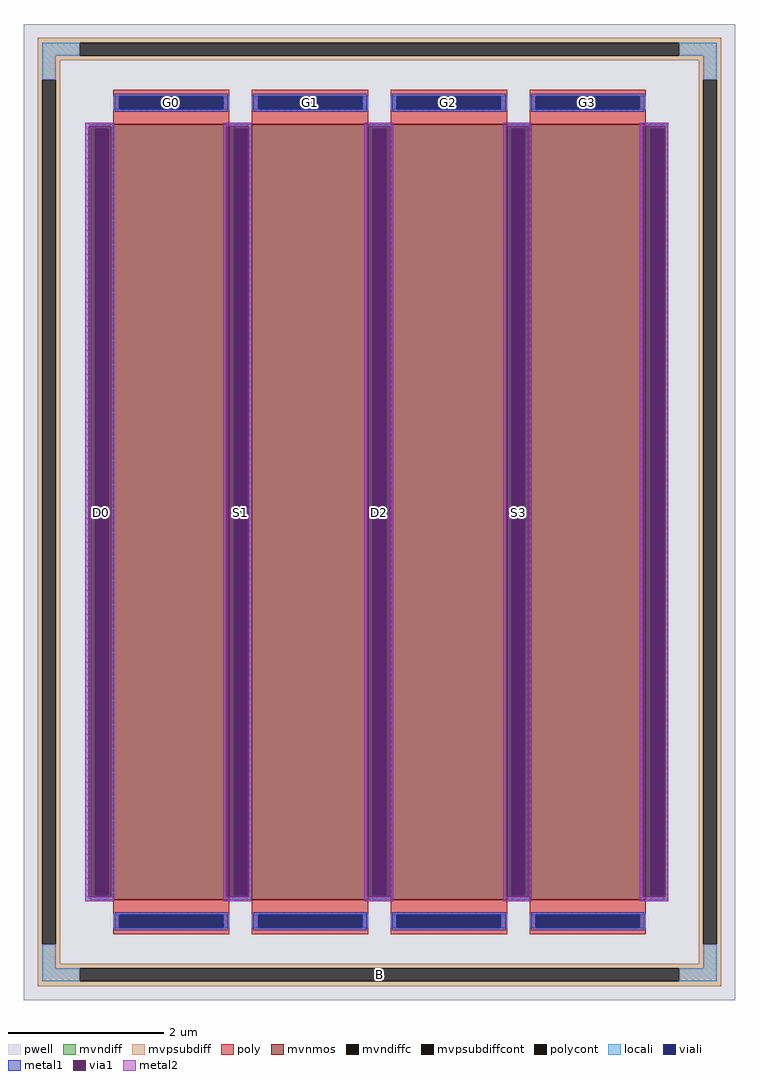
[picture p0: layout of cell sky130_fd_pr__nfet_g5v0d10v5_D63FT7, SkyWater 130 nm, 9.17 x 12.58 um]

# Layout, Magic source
magic
tech sky130A
magscale 1 2
<< pwell >>
rect -917 -1258 917 1258
<< mvnmos >>
rect -687 -1000 -387 1000
rect -329 -1000 -29 1000
rect 29 -1000 329 1000
rect 387 -1000 687 1000
<< mvndiff >>
rect -745 988 -687 1000
rect -745 -988 -733 988
rect -699 -988 -687 988
rect -745 -1000 -687 -988
rect -387 988 -329 1000
rect -387 -988 -375 988
rect -341 -988 -329 988
rect -387 -1000 -329 -988
rect -29 988 29 1000
rect -29 -988 -17 988
rect 17 -988 29 988
rect -29 -1000 29 -988
rect 329 988 387 1000
rect 329 -988 341 988
rect 375 -988 387 988
rect 329 -1000 387 -988
rect 687 988 745 1000
rect 687 -988 699 988
rect 733 -988 745 988
rect 687 -1000 745 -988
<< mvndiffc >>
rect -733 -988 -699 988
rect -375 -988 -341 988
rect -17 -988 17 988
rect 341 -988 375 988
rect 699 -988 733 988
<< mvpsubdiff >>
rect -881 1210 881 1222
rect -881 1176 -773 1210
rect 773 1176 881 1210
rect -881 1164 881 1176
rect -881 1114 -823 1164
rect -881 -1114 -869 1114
rect -835 -1114 -823 1114
rect 823 1114 881 1164
rect -881 -1164 -823 -1114
rect 823 -1114 835 1114
rect 869 -1114 881 1114
rect 823 -1164 881 -1114
rect -881 -1176 881 -1164
rect -881 -1210 -773 -1176
rect 773 -1210 881 -1176
rect -881 -1222 881 -1210
<< mvpsubdiffcont >>
rect -773 1176 773 1210
rect -869 -1114 -835 1114
rect 835 -1114 869 1114
rect -773 -1210 773 -1176
<< poly >>
rect -687 1072 -387 1088
rect -687 1038 -671 1072
rect -403 1038 -387 1072
rect -687 1000 -387 1038
rect -329 1072 -29 1088
rect -329 1038 -313 1072
rect -45 1038 -29 1072
rect -329 1000 -29 1038
rect 29 1072 329 1088
rect 29 1038 45 1072
rect 313 1038 329 1072
rect 29 1000 329 1038
rect 387 1072 687 1088
rect 387 1038 403 1072
rect 671 1038 687 1072
rect 387 1000 687 1038
rect -687 -1038 -387 -1000
rect -687 -1072 -671 -1038
rect -403 -1072 -387 -1038
rect -687 -1088 -387 -1072
rect -329 -1038 -29 -1000
rect -329 -1072 -313 -1038
rect -45 -1072 -29 -1038
rect -329 -1088 -29 -1072
rect 29 -1038 329 -1000
rect 29 -1072 45 -1038
rect 313 -1072 329 -1038
rect 29 -1088 329 -1072
rect 387 -1038 687 -1000
rect 387 -1072 403 -1038
rect 671 -1072 687 -1038
rect 387 -1088 687 -1072
<< polycont >>
rect -671 1038 -403 1072
rect -313 1038 -45 1072
rect 45 1038 313 1072
rect 403 1038 671 1072
rect -671 -1072 -403 -1038
rect -313 -1072 -45 -1038
rect 45 -1072 313 -1038
rect 403 -1072 671 -1038
<< locali >>
rect -869 1176 -773 1210
rect 773 1176 869 1210
rect -869 1114 -835 1176
rect 835 1114 869 1176
rect -687 1038 -671 1072
rect -403 1038 -387 1072
rect -329 1038 -313 1072
rect -45 1038 -29 1072
rect 29 1038 45 1072
rect 313 1038 329 1072
rect 387 1038 403 1072
rect 671 1038 687 1072
rect -733 988 -699 1004
rect -733 -1004 -699 -988
rect -375 988 -341 1004
rect -375 -1004 -341 -988
rect -17 988 17 1004
rect -17 -1004 17 -988
rect 341 988 375 1004
rect 341 -1004 375 -988
rect 699 988 733 1004
rect 699 -1004 733 -988
rect -687 -1072 -671 -1038
rect -403 -1072 -387 -1038
rect -329 -1072 -313 -1038
rect -45 -1072 -29 -1038
rect 29 -1072 45 -1038
rect 313 -1072 329 -1038
rect 387 -1072 403 -1038
rect 671 -1072 687 -1038
rect -869 -1176 -835 -1114
rect 835 -1176 869 -1114
rect -869 -1210 -773 -1176
rect 773 -1210 869 -1176
<< viali >>
rect -671 1038 -403 1072
rect -313 1038 -45 1072
rect 45 1038 313 1072
rect 403 1038 671 1072
rect -375 -988 -341 988
rect -17 -988 17 988
rect 341 -988 375 988
rect 699 -988 733 988
rect -671 -1072 -403 -1038
rect -313 -1072 -45 -1038
rect 45 -1072 313 -1038
rect 403 -1072 671 -1038
<< metal1 >>
rect -683 1072 -391 1078
rect -683 1038 -671 1072
rect -403 1038 -391 1072
rect -683 1032 -391 1038
rect -325 1072 -33 1078
rect -325 1038 -313 1072
rect -45 1038 -33 1072
rect -325 1032 -33 1038
rect 33 1072 325 1078
rect 33 1038 45 1072
rect 313 1038 325 1072
rect 33 1032 325 1038
rect 391 1072 683 1078
rect 391 1038 403 1072
rect 671 1038 683 1072
rect 391 1032 683 1038
rect -758 994 -684 1004
rect -758 -992 -750 994
rect -692 -992 -684 994
rect -758 -1004 -684 -992
rect -403 994 -329 1004
rect -403 -992 -395 994
rect -337 -992 -329 994
rect -403 -1004 -329 -992
rect -39 994 35 1004
rect -39 -992 -31 994
rect 27 -992 35 994
rect -39 -1004 35 -992
rect 319 994 393 1004
rect 319 -992 327 994
rect 385 -992 393 994
rect 319 -1004 393 -992
rect 671 994 745 1004
rect 671 -992 679 994
rect 737 -992 745 994
rect 671 -1004 745 -992
rect -683 -1038 -391 -1032
rect -683 -1072 -671 -1038
rect -403 -1072 -391 -1038
rect -683 -1078 -391 -1072
rect -325 -1038 -33 -1032
rect -325 -1072 -313 -1038
rect -45 -1072 -33 -1038
rect -325 -1078 -33 -1072
rect 33 -1038 325 -1032
rect 33 -1072 45 -1038
rect 313 -1072 325 -1038
rect 33 -1078 325 -1072
rect 391 -1038 683 -1032
rect 391 -1072 403 -1038
rect 671 -1072 683 -1038
rect 391 -1078 683 -1072
<< via1 >>
rect -750 -992 -692 994
rect -395 988 -337 994
rect -395 -988 -375 988
rect -375 -988 -341 988
rect -341 -988 -337 988
rect -395 -992 -337 -988
rect -31 988 27 994
rect -31 -988 -17 988
rect -17 -988 17 988
rect 17 -988 27 988
rect -31 -992 27 -988
rect 327 988 385 994
rect 327 -988 341 988
rect 341 -988 375 988
rect 375 -988 385 988
rect 327 -992 385 -988
rect 679 988 737 994
rect 679 -988 699 988
rect 699 -988 733 988
rect 733 -988 737 988
rect 679 -992 737 -988
<< metal2 >>
rect -758 994 -684 1004
rect -758 -992 -750 994
rect -692 -992 -684 994
rect -758 -1004 -684 -992
rect -403 994 -329 1004
rect -403 -992 -395 994
rect -337 -992 -329 994
rect -403 -1004 -329 -992
rect -39 994 35 1004
rect -39 -992 -31 994
rect 27 -992 35 994
rect -39 -1004 35 -992
rect 319 994 393 1004
rect 319 -992 327 994
rect 385 -992 393 994
rect 319 -1004 393 -992
rect 671 994 745 1004
rect 671 -992 679 994
rect 737 -992 745 994
rect 671 -1004 745 -992
<< labels >>
rlabel mvpsubdiffcont 0 -1193 0 -1193 0 B
port 1 nsew
rlabel mvndiffc -716 0 -716 0 0 D0
port 2 nsew
rlabel polycont -537 1055 -537 1055 0 G0
port 3 nsew
rlabel mvndiffc -358 0 -358 0 0 S1
port 4 nsew
rlabel polycont -179 1055 -179 1055 0 G1
port 5 nsew
rlabel mvndiffc 0 0 0 0 0 D2
port 6 nsew
rlabel polycont 179 1055 179 1055 0 G2
port 7 nsew
rlabel mvndiffc 358 0 358 0 0 S3
port 8 nsew
rlabel polycont 537 1055 537 1055 0 G3
port 9 nsew
<< properties >>
string FIXED_BBOX -852 -1193 852 1193
string gencell sky130_fd_pr__nfet_g5v0d10v5
string library sky130
string parameters w 10 l 1.5 m 1 nf 4 diffcov 100 polycov 100 guard 1 glc 1 grc 1 gtc 1 gbc 1 tbcov 100 rlcov 100 topc 1 botc 1 poverlap 0 doverlap 1 lmin 0.50 wmin 0.42 class mosfet compatible {sky130_fd_pr__nfet_01v8 sky130_fd_pr__nfet_01v8_lvt  sky130_fd_bs_flash__special_sonosfet_star  sky130_fd_pr__nfet_g5v0d10v5 sky130_fd_pr__nfet_05v0_nvt  sky130_fd_pr__nfet_03v3_nvt} full_metal 1 conn_gates 0 viasrc 100 viadrn 100 viagate 100 viagb 0 viagr 0 viagl 0 viagt 0 doports 1
<< end >>
